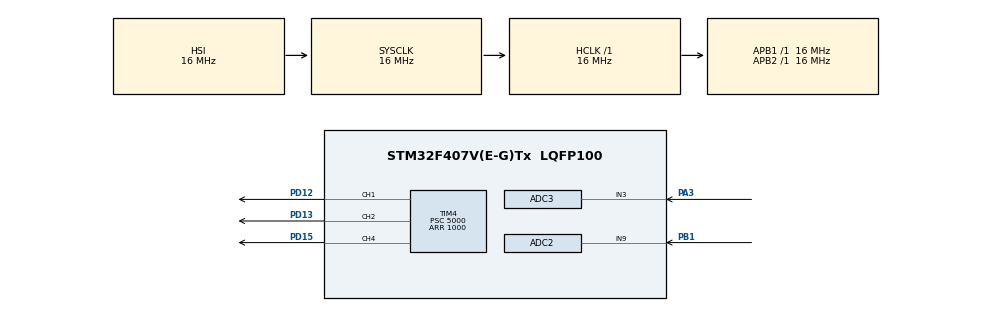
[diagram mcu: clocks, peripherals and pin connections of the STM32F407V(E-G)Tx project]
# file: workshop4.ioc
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ADC1.Channel-0\#ChannelRegularConversion=ADC_CHANNEL_TEMPSENSOR
ADC1.ClockPrescaler=ADC_CLOCK_SYNC_PCLK_DIV8
ADC1.ContinuousConvMode=ENABLE
ADC1.NbrOfConversion=1
ADC1.NbrOfConversionFlag=1
ADC1.Rank-0\#ChannelRegularConversion=1
ADC1.SamplingTime-0\#ChannelRegularConversion=ADC_SAMPLETIME_480CYCLES
ADC1.master=1
ADC2.Channel-5\#ChannelRegularConversion=ADC_CHANNEL_9
ADC2.ClockPrescaler=ADC_CLOCK_SYNC_PCLK_DIV8
ADC2.NbrOfConversionFlag=1
ADC2.Rank-5\#ChannelRegularConversion=1
ADC2.SamplingTime-5\#ChannelRegularConversion=ADC_SAMPLETIME_480CYCLES
ADC3.Channel-0\#ChannelRegularConversion=ADC_CHANNEL_3
ADC3.ClockPrescaler=ADC_CLOCK_SYNC_PCLK_DIV8
ADC3.NbrOfConversionFlag=1
ADC3.Rank-0\#ChannelRegularConversion=1
ADC3.SamplingTime-0\#ChannelRegularConversion=ADC_SAMPLETIME_480CYCLES
Mcu.Family=STM32F4
Mcu.Name=STM32F407V(E-G)Tx
Mcu.Package=LQFP100
NVIC.PriorityGroup=NVIC_PRIORITYGROUP_4
NVIC.TIM3_IRQn=true\:0\:0\:false\:false\:true\:true\:true
NVIC.TIM4_IRQn=true\:0\:0\:false\:false\:true\:true\:true
PA3.Signal=ADCx_IN3
PB1.Signal=ADCx_IN9
PD12.Signal=S_TIM4_CH1
PD13.Signal=S_TIM4_CH2
PD15.Signal=S_TIM4_CH4
ProjectManager.HeapSize=0x200
ProjectManager.StackSize=0x400
ProjectManager.TargetToolchain=STM32CubeIDE
RCC.AHBFreq_Value=16000000
RCC.APB1Freq_Value=16000000
RCC.APB2Freq_Value=16000000
RCC.CortexFreq_Value=16000000
RCC.HSE_VALUE=25000000
RCC.HSI_VALUE=16000000
RCC.LSE_VALUE=32768
RCC.SYSCLKFreq_VALUE=16000000
RCC.VCOOutputFreq_Value=192000000
SH.ADCx_IN3.0=ADC3_IN3,IN3
SH.ADCx_IN9.0=ADC2_IN9,IN9
SH.S_TIM4_CH1.0=TIM4_CH1,PWM Generation1 CH1
SH.S_TIM4_CH2.0=TIM4_CH2,PWM Generation2 CH2
SH.S_TIM4_CH4.0=TIM4_CH4,PWM Generation4 CH4
TIM3.AutoReloadPreload=TIM_AUTORELOAD_PRELOAD_ENABLE
TIM3.Period=1000
TIM3.Prescaler=16000
TIM4.AutoReloadPreload=TIM_AUTORELOAD_PRELOAD_ENABLE
TIM4.Channel-PWM\ Generation1\ CH1=TIM_CHANNEL_1
TIM4.Channel-PWM\ Generation2\ CH2=TIM_CHANNEL_2
TIM4.Channel-PWM\ Generation4\ CH4=TIM_CHANNEL_4
TIM4.Period=1000
TIM4.Prescaler=5000
VP_ADC1_TempSens_Input.Mode=IN-TempSens
VP_TIM3_VS_ClockSourceINT.Mode=Internal
VP_TIM4_VS_ClockSourceINT.Mode=Internal
board=custom

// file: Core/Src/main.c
/* USER CODE BEGIN Header */
/**
  ******************************************************************************
  * @file           : main.c
  * @brief          : Main program body
  ******************************************************************************
  * @attention
  *
  * <h2><center>&copy; Copyright (c) 2021 STMicroelectronics.
  * All rights reserved.</center></h2>
  *
  * This software component is licensed by ST under BSD 3-Clause license,
  * the "License"; You may not use this file except in compliance with the
  * License. You may obtain a copy of the License at:
  *                        opensource.org/licenses/BSD-3-Clause
  *
  ******************************************************************************
  */
/* USER CODE END Header */
#include "main.h"

ADC_HandleTypeDef hadc1;
ADC_HandleTypeDef hadc2;
ADC_HandleTypeDef hadc3;

TIM_HandleTypeDef htim3;
TIM_HandleTypeDef htim4;

void SystemClock_Config(void);
static void MX_GPIO_Init(void);
static void MX_TIM4_Init(void);
static void MX_ADC1_Init(void);
static void MX_ADC2_Init(void);
static void MX_ADC3_Init(void);
static void MX_TIM3_Init(void);

int main(void)
{

  /* MCU Configuration--------------------------------------------------------*/

  /* Reset of all peripherals, Initializes the Flash interface and the Systick. */
  HAL_Init();

  /* Configure the system clock */
  SystemClock_Config();

  /* Initialize all configured peripherals */
  MX_GPIO_Init();
  MX_TIM4_Init();
  MX_ADC1_Init();
  MX_ADC2_Init();
  MX_ADC3_Init();
  MX_TIM3_Init();
  /* USER CODE BEGIN 2 */

  HAL_TIM_Base_Start_IT(&htim4);

  HAL_TIM_PWM_Start(&htim4, TIM_CHANNEL_4);
  HAL_TIM_PWM_Start(&htim4, TIM_CHANNEL_2);
  HAL_TIM_PWM_Start(&htim4, TIM_CHANNEL_1);

  /* USER CODE END 2 */

  /* Infinite loop */
  /* USER CODE BEGIN WHILE */

  	  uint32_t adcValue = 0;
  	  volatile HAL_StatusTypeDef adcPollResult;

  	  HAL_ADC_Start(&hadc1);
  	  HAL_ADC_Start(&hadc2);
  	  HAL_ADC_Start(&hadc3);

  while (1)
  {
	  	  uint8_t red_led = 0;

	//	  potentiometer
		  adcPollResult = HAL_ADC_PollForConversion(&hadc3, 100);

		  if( adcPollResult == HAL_OK)
			  adcValue = HAL_ADC_GetValue(&hadc3);

		  if( adcValue < 1000 )
			  TIM4->CCR4=50;
		  else if( adcValue < 2000 )
			  TIM4->CCR4=300;
		  else if( adcValue < 3000 )
			  TIM4->CCR4=600;
		  else
		  {
			  TIM4->CCR4=900;
			  red_led++;
		  }
	//

	//temp stm32f407
		  adcPollResult = HAL_ADC_PollForConversion(&hadc1, 100);

		  if( adcPollResult == HAL_OK)
			  adcValue = HAL_ADC_GetValue(&hadc1);

		  if( adcValue < 1000 )
			  TIM4->CCR2=50;
		  else if( adcValue < 2000 )
			  TIM4->CCR2=300;
		  else if( adcValue < 3000 )
			  TIM4->CCR2=600;
		  else
		  {
			  TIM4->CCR4=900;
			  red_led++;
		  }
	//

	//temp starter kit
		  adcPollResult = HAL_ADC_PollForConversion(&hadc2, 100);

		  if( adcPollResult == HAL_OK)
			  adcValue = HAL_ADC_GetValue(&hadc2);

		  if( adcValue < 1000 )
			  TIM4->CCR1=50;
		  else if( adcValue < 2000 )
			  TIM4->CCR1=300;
		  else if( adcValue < 3000 )
			  TIM4->CCR1=600;
		  else
		  {
			  TIM4->CCR4=900;
			  red_led++;
		  }

		  //RED
		  if( red_led )
		  {
			  HAL_TIM_Base_Start_IT(&htim3);
			  if( red_led == 1 )
				  TIM3->ARR = 1000;
			  else if( red_led == 2 )
				  TIM3->ARR = 2500;
			  else
				  TIM3->ARR = 5000;
		  }
		  else
			  HAL_TIM_Base_Stop_IT(&htim3);

    /* USER CODE END WHILE */

  }
}

void SystemClock_Config(void)
{
  RCC_OscInitTypeDef RCC_OscInitStruct = {0};
  RCC_ClkInitTypeDef RCC_ClkInitStruct = {0};

  /** Configure the main internal regulator output voltage
  */
  __HAL_RCC_PWR_CLK_ENABLE();
  __HAL_PWR_VOLTAGESCALING_CONFIG(PWR_REGULATOR_VOLTAGE_SCALE1);
  /** Initializes the RCC Oscillators according to the specified parameters
  * in the RCC_OscInitTypeDef structure.
  */
  RCC_OscInitStruct.OscillatorType = RCC_OSCILLATORTYPE_HSI;
  RCC_OscInitStruct.HSIState = RCC_HSI_ON;
  RCC_OscInitStruct.HSICalibrationValue = RCC_HSICALIBRATION_DEFAULT;
  RCC_OscInitStruct.PLL.PLLState = RCC_PLL_NONE;
  if (HAL_RCC_OscConfig(&RCC_OscInitStruct) != HAL_OK)
  {
    Error_Handler();
  }
  /** Initializes the CPU, AHB and APB buses clocks
  */
  RCC_ClkInitStruct.ClockType = RCC_CLOCKTYPE_HCLK|RCC_CLOCKTYPE_SYSCLK
                              |RCC_CLOCKTYPE_PCLK1|RCC_CLOCKTYPE_PCLK2;
  RCC_ClkInitStruct.SYSCLKSource = RCC_SYSCLKSOURCE_HSI;
  RCC_ClkInitStruct.AHBCLKDivider = RCC_SYSCLK_DIV1;
  RCC_ClkInitStruct.APB1CLKDivider = RCC_HCLK_DIV1;
  RCC_ClkInitStruct.APB2CLKDivider = RCC_HCLK_DIV1;

  if (HAL_RCC_ClockConfig(&RCC_ClkInitStruct, FLASH_LATENCY_0) != HAL_OK)
  {
    Error_Handler();
  }
}

static void MX_ADC1_Init(void)
{

  ADC_ChannelConfTypeDef sConfig = {0};

  /** Configure the global features of the ADC (Clock, Resolution, Data Alignment and number of conversion)
  */
  hadc1.Instance = ADC1;
  hadc1.Init.ClockPrescaler = ADC_CLOCK_SYNC_PCLK_DIV8;
  hadc1.Init.Resolution = ADC_RESOLUTION_12B;
  hadc1.Init.ScanConvMode = DISABLE;
  hadc1.Init.ContinuousConvMode = ENABLE;
  hadc1.Init.DiscontinuousConvMode = DISABLE;
  hadc1.Init.ExternalTrigConvEdge = ADC_EXTERNALTRIGCONVEDGE_NONE;
  hadc1.Init.ExternalTrigConv = ADC_SOFTWARE_START;
  hadc1.Init.DataAlign = ADC_DATAALIGN_RIGHT;
  hadc1.Init.NbrOfConversion = 1;
  hadc1.Init.DMAContinuousRequests = DISABLE;
  hadc1.Init.EOCSelection = ADC_EOC_SINGLE_CONV;
  if (HAL_ADC_Init(&hadc1) != HAL_OK)
  {
    Error_Handler();
  }
  /** Configure for the selected ADC regular channel its corresponding rank in the sequencer and its sample time.
  */
  sConfig.Channel = ADC_CHANNEL_TEMPSENSOR;
  sConfig.Rank = 1;
  sConfig.SamplingTime = ADC_SAMPLETIME_480CYCLES;
  if (HAL_ADC_ConfigChannel(&hadc1, &sConfig) != HAL_OK)
  {
    Error_Handler();
  }

}

static void MX_ADC2_Init(void)
{

  ADC_ChannelConfTypeDef sConfig = {0};

  /** Configure the global features of the ADC (Clock, Resolution, Data Alignment and number of conversion)
  */
  hadc2.Instance = ADC2;
  hadc2.Init.ClockPrescaler = ADC_CLOCK_SYNC_PCLK_DIV8;
  hadc2.Init.Resolution = ADC_RESOLUTION_12B;
  hadc2.Init.ScanConvMode = DISABLE;
  hadc2.Init.ContinuousConvMode = ENABLE;
  hadc2.Init.DiscontinuousConvMode = DISABLE;
  hadc2.Init.ExternalTrigConvEdge = ADC_EXTERNALTRIGCONVEDGE_NONE;
  hadc2.Init.ExternalTrigConv = ADC_SOFTWARE_START;
  hadc2.Init.DataAlign = ADC_DATAALIGN_RIGHT;
  hadc2.Init.NbrOfConversion = 1;
  hadc2.Init.DMAContinuousRequests = DISABLE;
  hadc2.Init.EOCSelection = ADC_EOC_SINGLE_CONV;
  if (HAL_ADC_Init(&hadc2) != HAL_OK)
  {
    Error_Handler();
  }
  /** Configure for the selected ADC regular channel its corresponding rank in the sequencer and its sample time.
  */
  sConfig.Channel = ADC_CHANNEL_9;
  sConfig.Rank = 1;
  sConfig.SamplingTime = ADC_SAMPLETIME_480CYCLES;
  if (HAL_ADC_ConfigChannel(&hadc2, &sConfig) != HAL_OK)
  {
    Error_Handler();
  }

}

static void MX_ADC3_Init(void)
{

  ADC_ChannelConfTypeDef sConfig = {0};

  /** Configure the global features of the ADC (Clock, Resolution, Data Alignment and number of conversion)
  */
  hadc3.Instance = ADC3;
  hadc3.Init.ClockPrescaler = ADC_CLOCK_SYNC_PCLK_DIV8;
  hadc3.Init.Resolution = ADC_RESOLUTION_12B;
  hadc3.Init.ScanConvMode = DISABLE;
  hadc3.Init.ContinuousConvMode = ENABLE;
  hadc3.Init.DiscontinuousConvMode = DISABLE;
  hadc3.Init.ExternalTrigConvEdge = ADC_EXTERNALTRIGCONVEDGE_NONE;
  hadc3.Init.ExternalTrigConv = ADC_SOFTWARE_START;
  hadc3.Init.DataAlign = ADC_DATAALIGN_RIGHT;
  hadc3.Init.NbrOfConversion = 1;
  hadc3.Init.DMAContinuousRequests = DISABLE;
  hadc3.Init.EOCSelection = ADC_EOC_SINGLE_CONV;
  if (HAL_ADC_Init(&hadc3) != HAL_OK)
  {
    Error_Handler();
  }
  /** Configure for the selected ADC regular channel its corresponding rank in the sequencer and its sample time.
  */
  sConfig.Channel = ADC_CHANNEL_3;
  sConfig.Rank = 1;
  sConfig.SamplingTime = ADC_SAMPLETIME_480CYCLES;
  if (HAL_ADC_ConfigChannel(&hadc3, &sConfig) != HAL_OK)
  {
    Error_Handler();
  }

}

static void MX_TIM3_Init(void)
{

  TIM_ClockConfigTypeDef sClockSourceConfig = {0};
  TIM_MasterConfigTypeDef sMasterConfig = {0};

  htim3.Instance = TIM3;
  htim3.Init.Prescaler = 16000;
  htim3.Init.CounterMode = TIM_COUNTERMODE_UP;
  htim3.Init.Period = 1000;
  htim3.Init.ClockDivision = TIM_CLOCKDIVISION_DIV1;
  htim3.Init.AutoReloadPreload = TIM_AUTORELOAD_PRELOAD_ENABLE;
  if (HAL_TIM_Base_Init(&htim3) != HAL_OK)
  {
    Error_Handler();
  }
  sClockSourceConfig.ClockSource = TIM_CLOCKSOURCE_INTERNAL;
  if (HAL_TIM_ConfigClockSource(&htim3, &sClockSourceConfig) != HAL_OK)
  {
    Error_Handler();
  }
  sMasterConfig.MasterOutputTrigger = TIM_TRGO_RESET;
  sMasterConfig.MasterSlaveMode = TIM_MASTERSLAVEMODE_DISABLE;
  if (HAL_TIMEx_MasterConfigSynchronization(&htim3, &sMasterConfig) != HAL_OK)
  {
    Error_Handler();
  }

}

static void MX_TIM4_Init(void)
{

  TIM_ClockConfigTypeDef sClockSourceConfig = {0};
  TIM_MasterConfigTypeDef sMasterConfig = {0};
  TIM_OC_InitTypeDef sConfigOC = {0};

  htim4.Instance = TIM4;
  htim4.Init.Prescaler = 5000;
  htim4.Init.CounterMode = TIM_COUNTERMODE_UP;
  htim4.Init.Period = 1000;
  htim4.Init.ClockDivision = TIM_CLOCKDIVISION_DIV1;
  htim4.Init.AutoReloadPreload = TIM_AUTORELOAD_PRELOAD_ENABLE;
  if (HAL_TIM_Base_Init(&htim4) != HAL_OK)
  {
    Error_Handler();
  }
  sClockSourceConfig.ClockSource = TIM_CLOCKSOURCE_INTERNAL;
  if (HAL_TIM_ConfigClockSource(&htim4, &sClockSourceConfig) != HAL_OK)
  {
    Error_Handler();
  }
  if (HAL_TIM_PWM_Init(&htim4) != HAL_OK)
  {
    Error_Handler();
  }
  sMasterConfig.MasterOutputTrigger = TIM_TRGO_RESET;
  sMasterConfig.MasterSlaveMode = TIM_MASTERSLAVEMODE_DISABLE;
  if (HAL_TIMEx_MasterConfigSynchronization(&htim4, &sMasterConfig) != HAL_OK)
  {
    Error_Handler();
  }
  sConfigOC.OCMode = TIM_OCMODE_PWM1;
  sConfigOC.Pulse = 0;
  sConfigOC.OCPolarity = TIM_OCPOLARITY_HIGH;
  sConfigOC.OCFastMode = TIM_OCFAST_DISABLE;
  if (HAL_TIM_PWM_ConfigChannel(&htim4, &sConfigOC, TIM_CHANNEL_1) != HAL_OK)
  {
    Error_Handler();
  }
  if (HAL_TIM_PWM_ConfigChannel(&htim4, &sConfigOC, TIM_CHANNEL_2) != HAL_OK)
  {
    Error_Handler();
  }
  if (HAL_TIM_PWM_ConfigChannel(&htim4, &sConfigOC, TIM_CHANNEL_4) != HAL_OK)
  {
    Error_Handler();
  }
  HAL_TIM_MspPostInit(&htim4);

}

static void MX_GPIO_Init(void)
{

  /* GPIO Ports Clock Enable */
  __HAL_RCC_GPIOA_CLK_ENABLE();
  __HAL_RCC_GPIOB_CLK_ENABLE();
  __HAL_RCC_GPIOD_CLK_ENABLE();

}

void Error_Handler(void)
{
  __disable_irq();
  while (1)
  {
  }
}

/************************ (C) COPYRIGHT STMicroelectronics *****END OF FILE****/
